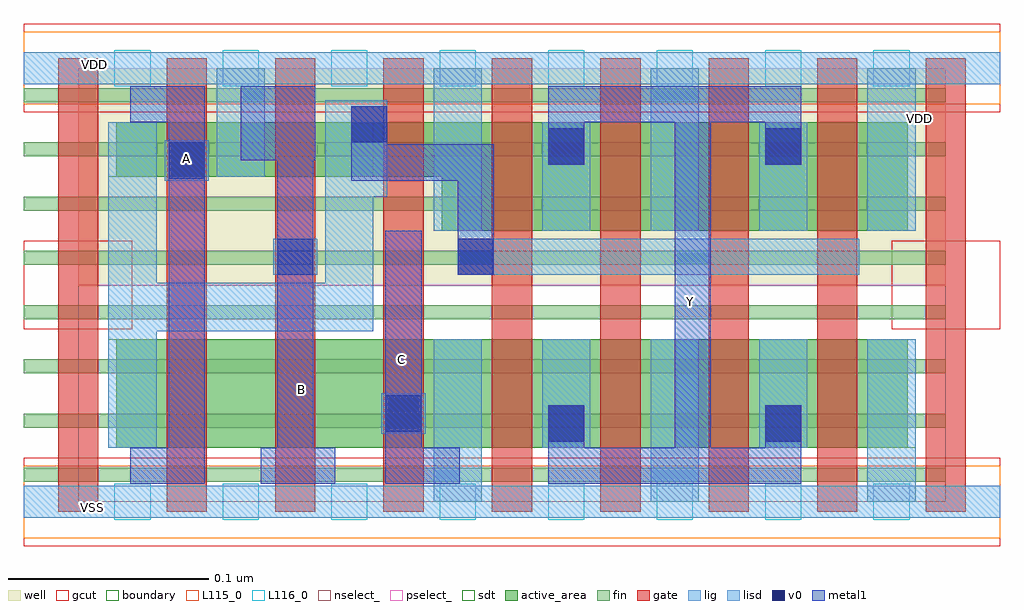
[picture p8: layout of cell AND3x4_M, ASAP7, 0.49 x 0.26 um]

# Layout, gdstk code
import gdstk
lib = gdstk.Library(unit=1e-6, precision=2.5e-10)
def R(c, l, rs):  # rectangles x0, y0, x1, y1
    for r in rs: c.add(gdstk.rectangle(r[:2], r[2:], *l))
def A(c, l, x, y, w, h, nx, ny, dx, dy):  # array of equal rectangles
    R(c, l, [(x+i*dx, y+j*dy, x+i*dx+w, y+j*dy+h) for i in range(nx) for j in range(ny)])
def P(c, l, *ps):  # polygons
    for p in ps: c.add(gdstk.Polygon(p, *l))
well = (1, 0)
fin = (2, 0)
gate = (7, 0)
gcut = (10, 0)
active_area = (11, 0)
nselect_ = (12, 0)
pselect_ = (13, 0)
lig = (16, 0)
lisd = (17, 0)
v0 = (18, 0)
metal1 = (19, 0)
sdt = (88, 0)
boundary = (100, 0)
L115_0 = (115, 0)
L116_0 = (116, 0)

and3x4_m = lib.new_cell('AND3x4_M')
R(and3x4_m, well, [(0,0.108,0.432,0.216)])
A(and3x4_m, fin, -0.027, 0.01, 0.459, 0.007, 1, 8, 0, 0.027)
A(and3x4_m, gate, -0.01, -0.005, 0.02, 0.226, 9, 1, 0.054, 0)
R(and3x4_m, gcut, [(-0.027,-0.022,0.459,0.022), (-0.027,0.086,0.027,0.13), (0.405,0.086,0.459,0.13), (-0.027,0.194,0.459,0.238)])
R(and3x4_m, active_area, [(0.019,0.027,0.413,0.081)])
P(and3x4_m, active_area, [(0.413,0.189),(0.019,0.189),(0.019,0.162),(0.181,0.162),(0.181,0.135),(0.413,0.135)])
R(and3x4_m, nselect_, [(0,0,0.432,0.108)])
R(and3x4_m, pselect_, [(0,0.108,0.432,0.216)])
R(and3x4_m, lig, [(-0.027,-0.008,0.459,0.008), (0.151,0.034,0.173,0.054), (0.097,0.113,0.119,0.131), (0.189,0.113,0.389,0.131), (0.043,0.16,0.065,0.18), (-0.027,0.208,0.459,0.224)])
R(and3x4_m, lisd, [(0.177,0,0.201,0.081), (0.285,0,0.309,0.081), (0.285,0,0.309,0.081), (0.393,0,0.417,0.081), (0.231,0.027,0.255,0.081), (0.339,0.027,0.363,0.081), (0.177,0.135,0.201,0.216), (0.231,0.135,0.255,0.189), (0.285,0.135,0.309,0.216), (0.285,0.135,0.309,0.216), (0.339,0.135,0.363,0.189), (0.393,0.135,0.417,0.216), (0.069,0.162,0.093,0.216)])
P(and3x4_m, lisd, [(0.154,0.2),(0.123,0.2),(0.123,0.109),(0.039,0.109),(0.039,0.189),(0.015,0.189),(0.015,0.027),(0.039,0.027),(0.039,0.085),(0.147,0.085),(0.147,0.152),(0.154,0.152)])
R(and3x4_m, v0, [(0.234,0.03,0.252,0.048), (0.342,0.03,0.36,0.048), (0.153,0.035,0.171,0.053), (0.099,0.113,0.117,0.131), (0.189,0.113,0.207,0.131), (0.045,0.161,0.063,0.179), (0.234,0.168,0.252,0.186), (0.342,0.168,0.36,0.186), (0.136,0.179,0.154,0.197)])
R(and3x4_m, metal1, [(0.026,0.009,0.063,0.027), (0.045,0.009,0.063,0.207), (0.091,0.009,0.128,0.027), (0.099,0.009,0.117,0.207), (0.153,0.009,0.19,0.027), (0.153,0.009,0.171,0.135), (0.234,0.009,0.252,0.048), (0.234,0.009,0.36,0.027), (0.297,0.009,0.315,0.207), (0.342,0.009,0.36,0.048), (0.189,0.113,0.207,0.178), (0.136,0.16,0.207,0.178), (0.136,0.16,0.154,0.197), (0.234,0.168,0.252,0.207), (0.342,0.168,0.36,0.207), (0.081,0.17,0.118,0.207), (0.026,0.189,0.063,0.207), (0.234,0.189,0.36,0.207)])
A(and3x4_m, sdt, 0.177, 0.027, 0.024, 0.054, 5, 2, 0.054, 0.108)
A(and3x4_m, sdt, 0.015, 0.162, 0.024, 0.027, 3, 1, 0.054, 0)
R(and3x4_m, sdt, [(0.015,0.027,0.039,0.081)])
R(and3x4_m, boundary, [(0,0,0.432,0.216)])
R(and3x4_m, L115_0, [(-0.027,-0.018,0.459,0.018), (-0.027,0.198,0.459,0.234)])
A(and3x4_m, L116_0, 0.018, -0.009, 0.018, 0.018, 8, 2, 0.054, 0.216)
and3x4_m.add(gdstk.Label('A', (0.054,0.171), layer=19, texttype=251))
and3x4_m.add(gdstk.Label('B', (0.111,0.056), layer=19, texttype=251))
and3x4_m.add(gdstk.Label('C', (0.161,0.071), layer=19, texttype=251))
and3x4_m.add(gdstk.Label('Y', (0.305,0.1), layer=19, texttype=251))
and3x4_m.add(gdstk.Label('VDD', (0.419,0.191), layer=1, texttype=251))
and3x4_m.add(gdstk.Label('VSS', (0.478,0.19), layer=3, texttype=251))
and3x4_m.add(gdstk.Label('VSS', (0.007,-0.003), layer=115, texttype=251))
and3x4_m.add(gdstk.Label('VDD', (0.008,0.218), layer=115, texttype=251))

lib.write_gds('AND3x4_M.gds')
